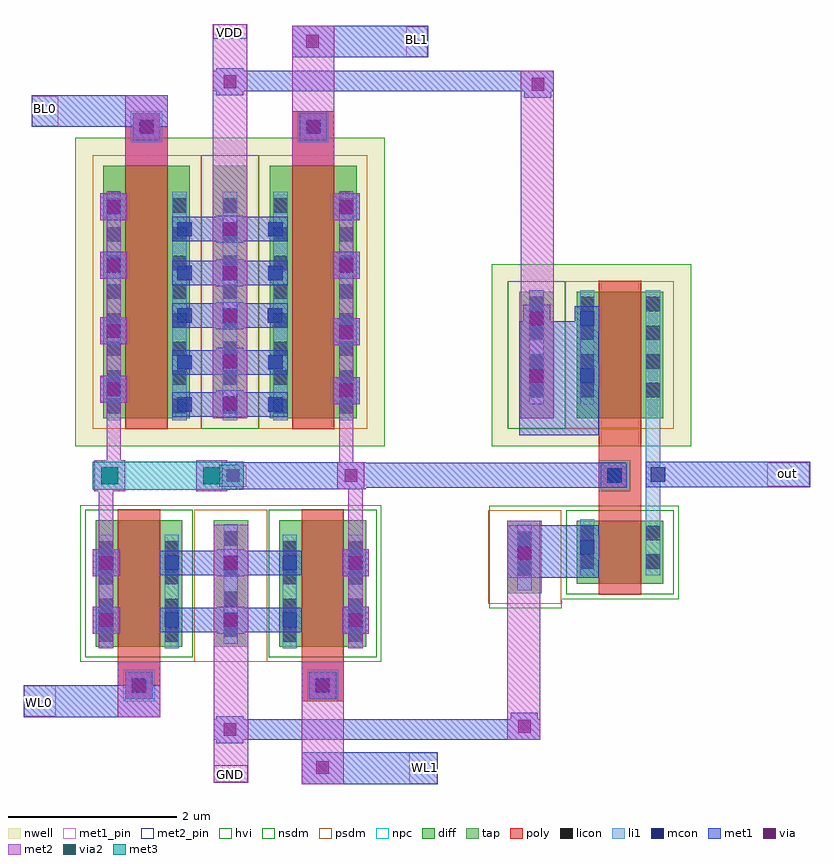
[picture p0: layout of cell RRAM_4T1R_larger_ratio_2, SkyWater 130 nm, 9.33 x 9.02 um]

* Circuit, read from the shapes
.subckt RRAM_4T1R_larger_ratio_2 BL0 BL1 GND VDD WL0 WL1 out
XM1 GND WL0 rram2_0_88/BE GND sky130_fd_pr__nfet_g5v0d10v5 w=1.5 l=0.5
XM2 rram2_0_88/BE WL1 GND GND sky130_fd_pr__nfet_g5v0d10v5 w=1.5 l=0.5
XM3 out rram2_0_88/BE GND GND sky130_fd_pr__nfet_g5v0d10v5 w=0.75 l=0.5
XM4 VDD BL0 rram2_0_88/BE VDD sky130_fd_pr__pfet_g5v0d10v5 w=3 l=0.5
XM5 rram2_0_88/BE BL1 VDD VDD sky130_fd_pr__pfet_g5v0d10v5 w=3 l=0.5
XM6 out rram2_0_88/BE VDD VDD sky130_fd_pr__pfet_g5v0d10v5 w=1.5 l=0.5
.ends

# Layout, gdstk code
from math import pi, radians
import gdstk
lib = gdstk.Library(unit=1e-6, precision=1e-09)
def R(c, l, rs):  # rectangles x0, y0, x1, y1
    for r in rs: c.add(gdstk.rectangle(r[:2], r[2:], *l))
def A(c, l, x, y, w, h, nx, ny, dx, dy):  # array of equal rectangles
    R(c, l, [(x+i*dx, y+j*dy, x+i*dx+w, y+j*dy+h) for i in range(nx) for j in range(ny)])
nwell = (64, 20)
diff = (65, 20)
tap = (65, 44)
poly = (66, 20)
licon = (66, 44)
li1 = (67, 20)
mcon = (67, 44)
met1_pin = (68, 16)
met1 = (68, 20)
via = (68, 44)
met2_pin = (69, 16)
met2 = (69, 20)
via2 = (69, 44)
met3 = (70, 20)
hvi = (75, 20)
nsdm = (93, 44)
psdm = (94, 20)
npc = (95, 20)

l1m1_c_cdns_630369580172 = lib.new_cell('L1M1_C_CDNS_6303695801729')
R(l1m1_c_cdns_630369580172, li1, [(-0.085,-0.085,0.085,0.085)])
R(l1m1_c_cdns_630369580172, mcon, [(-0.085,-0.085,0.085,0.085)])
R(l1m1_c_cdns_630369580172, met1, [(-0.16,-0.16,0.16,0.16)])

l1m1_c_cdns_630369580173 = lib.new_cell('L1M1_C_CDNS_6303695801734')
R(l1m1_c_cdns_630369580173, li1, [(-0.085,-0.085,0.085,0.085)])
R(l1m1_c_cdns_630369580173, mcon, [(-0.085,-0.085,0.085,0.085)])
R(l1m1_c_cdns_630369580173, met1, [(-0.145,-0.145,0.145,0.145)])

m1m2_c_cdns_630369580172 = lib.new_cell('M1M2_C_CDNS_6303695801725')
R(m1m2_c_cdns_630369580172, met1, [(-0.16,-0.16,0.16,0.16)])
R(m1m2_c_cdns_630369580172, via, [(-0.075,-0.075,0.075,0.075)])
R(m1m2_c_cdns_630369580172, met2, [(-0.16,-0.16,0.16,0.16)])

m2m3_c_cdns_630369580173 = lib.new_cell('M2M3_C_CDNS_6303695801738')
R(m2m3_c_cdns_630369580173, met2, [(-0.185,-0.185,0.185,0.185)])
R(m2m3_c_cdns_630369580173, via2, [(-0.1,-0.1,0.1,0.1)])
R(m2m3_c_cdns_630369580173, met3, [(-0.165,-0.165,0.165,0.165)])

pyl1_c_cdns_630369580173 = lib.new_cell('PYL1_C_CDNS_6303695801737')
R(pyl1_c_cdns_630369580173, poly, [(-0.165,-0.165,0.165,0.165)])
R(pyl1_c_cdns_630369580173, licon, [(-0.085,-0.085,0.085,0.085)])
R(pyl1_c_cdns_630369580173, li1, [(-0.165,-0.165,0.165,0.165)])
R(pyl1_c_cdns_630369580173, npc, [(-0.185,-0.185,0.185,0.185)])

dfl1sd_cdns_630369580171 = lib.new_cell('DFL1sd_CDNS_6303695801712')
R(dfl1sd_cdns_630369580171, nwell, [(-0.18,-0.18,0.445,1.68)])
R(dfl1sd_cdns_630369580171, diff, [(0,0,0.265,1.5)])
A(dfl1sd_cdns_630369580171, licon, 0.055, 0.06, 0.17, 0.17, 1, 4, 0, 0.34)
R(dfl1sd_cdns_630369580171, li1, [(0.055,-0.02,0.225,1.33)])
R(dfl1sd_cdns_630369580171, psdm, [(-0.125,-0.125,0.39,1.625)])

pfet_symbolic_cdns_63036 = lib.new_cell('pfet_symbolic_CDNS_6303695801711')
R(pfet_symbolic_cdns_63036, nwell, [(-0.445,-0.18,0.945,1.68)])
R(pfet_symbolic_cdns_63036, diff, [(-0.25,0,0,1.5), (0,0,0.5,1.5), (0.5,0,0.75,1.5)])
R(pfet_symbolic_cdns_63036, poly, [(0,-0.13,0.5,1.63), (0,-0.13,0.5,0), (0,1.5,0.5,1.63)])
R(pfet_symbolic_cdns_63036, li1, [(-0.225,-0.02,-0.055,1.33), (0.555,-0.02,0.725,1.33)])
R(pfet_symbolic_cdns_63036, psdm, [(-0.25,-0.125,0.75,1.625)])
pfet_symbolic_cdns_63036.add(gdstk.Reference(dfl1sd_cdns_630369580171, (0.5,0)))
pfet_symbolic_cdns_63036.add(gdstk.Reference(dfl1sd_cdns_630369580171, (0,0), rotation=pi, x_reflection=True))
pfet_symbolic_cdns_63036.add(gdstk.Label('D', (0.64,0.655), layer=83, texttype=44))
pfet_symbolic_cdns_63036.add(gdstk.Label('S', (-0.14,0.655), layer=83, texttype=44))

pfet_cdns_6303695801710 = lib.new_cell('pfet_CDNS_6303695801710')
R(pfet_cdns_6303695801710, nwell, [(-1.275,-0.33,-0.445,1.83), (-0.595,-0.33,1.095,1.83)])
R(pfet_cdns_6303695801710, tap, [(-0.945,0,-0.535,1.5)])
A(pfet_cdns_6303695801710, licon, -0.825, 0.06, 0.17, 0.17, 1, 4, 0, 0.34)
R(pfet_cdns_6303695801710, li1, [(-0.825,-0.02,-0.655,1.33)])
R(pfet_cdns_6303695801710, hvi, [(-1.275,-0.33,-0.445,1.83), (-0.595,-0.33,1.095,1.83)])
R(pfet_cdns_6303695801710, nsdm, [(-1.08,-0.125,-0.4,1.625)])
R(pfet_cdns_6303695801710, psdm, [(-0.4,-0.125,-0.39,1.625)])
pfet_cdns_6303695801710.add(gdstk.Reference(pfet_symbolic_cdns_63036, (0,0)))

c_dfl1sd_cdns_630369580171 = lib.new_cell('DFL1sd_CDNS_6303695801715')
R(c_dfl1sd_cdns_630369580171, nwell, [(-0.18,-0.18,0.445,3.18)])
R(c_dfl1sd_cdns_630369580171, diff, [(0,0,0.265,3)])
A(c_dfl1sd_cdns_630369580171, licon, 0.055, 0.06, 0.17, 0.17, 1, 8, 0, 0.34)
R(c_dfl1sd_cdns_630369580171, li1, [(0.055,-0.02,0.225,2.69)])
R(c_dfl1sd_cdns_630369580171, psdm, [(-0.125,-0.125,0.39,3.125)])

c_pfet_symbolic_cdns_63036 = lib.new_cell('pfet_symbolic_CDNS_6303695801714')
R(c_pfet_symbolic_cdns_63036, nwell, [(-0.445,-0.18,0.945,3.18)])
R(c_pfet_symbolic_cdns_63036, diff, [(-0.25,0,0,3), (0,0,0.5,3), (0.5,0,0.75,3)])
R(c_pfet_symbolic_cdns_63036, poly, [(0,-0.13,0.5,3.13), (0,-0.13,0.5,0), (0,3,0.5,3.13)])
R(c_pfet_symbolic_cdns_63036, li1, [(-0.225,-0.02,-0.055,2.69), (0.555,-0.02,0.725,2.69)])
R(c_pfet_symbolic_cdns_63036, psdm, [(-0.25,-0.125,0.75,3.125)])
c_pfet_symbolic_cdns_63036.add(gdstk.Reference(c_dfl1sd_cdns_630369580171, (0.5,0)))
c_pfet_symbolic_cdns_63036.add(gdstk.Reference(c_dfl1sd_cdns_630369580171, (0,0), rotation=pi, x_reflection=True))
c_pfet_symbolic_cdns_63036.add(gdstk.Label('D', (0.64,1.335), layer=83, texttype=44))
c_pfet_symbolic_cdns_63036.add(gdstk.Label('S', (-0.14,1.335), layer=83, texttype=44))

pfet_cdns_6303695801713 = lib.new_cell('pfet_CDNS_6303695801713')
R(pfet_cdns_6303695801713, nwell, [(-1.275,-0.33,-0.445,3.33), (-0.595,-0.33,1.095,3.33)])
R(pfet_cdns_6303695801713, tap, [(-0.945,0,-0.535,3)])
A(pfet_cdns_6303695801713, licon, -0.825, 0.06, 0.17, 0.17, 1, 8, 0, 0.34)
R(pfet_cdns_6303695801713, li1, [(-0.825,-0.02,-0.655,2.69)])
R(pfet_cdns_6303695801713, hvi, [(-1.275,-0.33,-0.445,3.33), (-0.595,-0.33,1.095,3.33)])
R(pfet_cdns_6303695801713, nsdm, [(-1.08,-0.125,-0.4,3.125)])
R(pfet_cdns_6303695801713, psdm, [(-0.4,-0.125,-0.39,3.125)])
pfet_cdns_6303695801713.add(gdstk.Reference(c_pfet_symbolic_cdns_63036, (0,0)))

rram2_0 = lib.new_cell('rram2_0')
R(rram2_0, met1_pin, [(-0.16,-0.13,0.16,0.13)])
R(rram2_0, met1, [(-0.16,-0.13,0.16,0.13)])
R(rram2_0, via, [(-0.075,-0.075,0.075,0.075)])
R(rram2_0, met2_pin, [(-0.13,-0.16,0.13,0.16)])
R(rram2_0, met2, [(-0.13,-0.16,0.13,0.16)])
rram2_0.add(gdstk.Label('TE', (0,0), layer=69, texttype=5))
rram2_0.add(gdstk.Label('BE', (0,0), layer=68, texttype=5))

dfl1sd_cdns_630369580176 = lib.new_cell('DFL1sd_CDNS_630369580176')
R(dfl1sd_cdns_630369580176, diff, [(0,0,0.265,0.75)])
R(dfl1sd_cdns_630369580176, licon, [(0.055,0.06,0.225,0.23), (0.055,0.4,0.225,0.57)])
R(dfl1sd_cdns_630369580176, li1, [(0.055,-0.02,0.225,0.65)])
R(dfl1sd_cdns_630369580176, nsdm, [(-0.125,-0.125,0.39,0.875)])

nfet_symbolic_cdns_63036 = lib.new_cell('nfet_symbolic_CDNS_630369580175')
R(nfet_symbolic_cdns_63036, diff, [(-0.25,0,0,0.75), (0,0,0.5,0.75), (0.5,0,0.75,0.75)])
R(nfet_symbolic_cdns_63036, poly, [(0,-0.13,0.5,0.88), (0,-0.13,0.5,0), (0,0.75,0.5,0.88)])
R(nfet_symbolic_cdns_63036, li1, [(-0.225,-0.02,-0.055,0.65), (0.555,-0.02,0.725,0.65)])
R(nfet_symbolic_cdns_63036, nsdm, [(-0.25,-0.125,0.75,0.875)])
nfet_symbolic_cdns_63036.add(gdstk.Reference(dfl1sd_cdns_630369580176, (0.5,0)))
nfet_symbolic_cdns_63036.add(gdstk.Reference(dfl1sd_cdns_630369580176, (0,0), rotation=pi, x_reflection=True))
nfet_symbolic_cdns_63036.add(gdstk.Label('D', (0.64,0.315), layer=83, texttype=44))
nfet_symbolic_cdns_63036.add(gdstk.Label('S', (-0.14,0.315), layer=83, texttype=44))

nfet_cdns_630369580174 = lib.new_cell('nfet_CDNS_630369580174')
R(nfet_cdns_630369580174, hvi, [(-0.445,-0.18,0.945,0.93)])
nfet_cdns_630369580174.add(gdstk.Reference(nfet_symbolic_cdns_63036, (0,0)))

dfl1sd_cdns_630369580179 = lib.new_cell('DFL1sd_CDNS_630369580179')
R(dfl1sd_cdns_630369580179, diff, [(0,0,0.265,1.5)])
A(dfl1sd_cdns_630369580179, licon, 0.055, 0.06, 0.17, 0.17, 1, 4, 0, 0.34)
R(dfl1sd_cdns_630369580179, li1, [(0.055,-0.02,0.225,1.33)])
R(dfl1sd_cdns_630369580179, nsdm, [(-0.125,-0.125,0.39,1.625)])

c_nfet_symbolic_cdns_63036 = lib.new_cell('nfet_symbolic_CDNS_630369580178')
R(c_nfet_symbolic_cdns_63036, diff, [(-0.25,0,0,1.5), (0,0,0.5,1.5), (0.5,0,0.75,1.5)])
R(c_nfet_symbolic_cdns_63036, poly, [(0,-0.13,0.5,1.63), (0,-0.13,0.5,0), (0,1.5,0.5,1.63)])
R(c_nfet_symbolic_cdns_63036, li1, [(-0.225,-0.02,-0.055,1.33), (0.555,-0.02,0.725,1.33)])
R(c_nfet_symbolic_cdns_63036, nsdm, [(-0.25,-0.125,0.75,1.625)])
c_nfet_symbolic_cdns_63036.add(gdstk.Reference(dfl1sd_cdns_630369580179, (0.5,0)))
c_nfet_symbolic_cdns_63036.add(gdstk.Reference(dfl1sd_cdns_630369580179, (0,0), rotation=pi, x_reflection=True))
c_nfet_symbolic_cdns_63036.add(gdstk.Label('D', (0.64,0.655), layer=83, texttype=44))
c_nfet_symbolic_cdns_63036.add(gdstk.Label('S', (-0.14,0.655), layer=83, texttype=44))

nfet_cdns_630369580177 = lib.new_cell('nfet_CDNS_630369580177')
R(nfet_cdns_630369580177, hvi, [(-0.445,-0.18,0.945,1.68)])
nfet_cdns_630369580177.add(gdstk.Reference(c_nfet_symbolic_cdns_63036, (0,0)))

rram_4t1r_larger_ratio_2 = lib.new_cell('RRAM_4T1R_larger_ratio_2')
R(rram_4t1r_larger_ratio_2, tap, [(3.435,-2.835,3.845,-1.335), (6.92,-2.2,7.33,-1.34)])
R(rram_4t1r_larger_ratio_2, poly, [(4.48,-3.48,4.98,-2.965), (2.3,-3.295,2.8,-2.965), (8.01,-1.21,8.51,-0.255), (2.39,3.005,2.89,3.335), (4.37,3.005,4.87,3.52)])
R(rram_4t1r_larger_ratio_2, licon, [(3.555,-2.715,3.725,-2.545), (3.555,-2.355,3.725,-2.185), (3.555,-2,3.725,-1.83), (7.04,-1.995,7.21,-1.825), (7.04,-1.64,7.21,-1.47), (3.555,-1.635,3.725,-1.465)])
R(rram_4t1r_larger_ratio_2, li1, [(3.555,-2.8,3.725,-1.385), (7.04,-2.165,7.21,-1.39), (8.565,-1.34,8.735,0.045)])
R(rram_4t1r_larger_ratio_2, met1_pin, [(5.76,-4.46,6.09,-4.095), (1.19,-3.66,1.565,-3.3), (10.005,-0.93,10.505,-0.655), (1.285,3.34,1.59,3.7), (5.725,4.165,5.97,4.52)])
R(rram_4t1r_larger_ratio_2, met1, [(4.48,-4.465,6.095,-4.09), (3.435,-3.94,7.315,-3.695), (1.185,-3.67,2.8,-3.295), (2.855,-2.665,4.425,-2.375), (6.92,-2.015,8.01,-1.395), (2.855,-1.985,4.425,-1.695), (3.7,-0.965,5.24,-0.645), (5.24,-0.95,8.33,-0.655), (8.565,-0.945,10.515,-0.64), (7.065,-0.325,8.01,1.025), (2.945,-0.105,4.315,0.185), (2.945,0.395,4.315,0.685), (2.945,0.95,4.315,1.24), (2.945,1.455,4.315,1.745), (2.945,1.975,4.315,2.265), (1.275,3.335,2.89,3.71), (3.425,3.755,7.475,4), (4.37,4.16,5.985,4.535)])
R(rram_4t1r_larger_ratio_2, met2_pin, [(3.44,-4.445,3.84,-4.245), (3.43,4.38,3.83,4.55)])
R(rram_4t1r_larger_ratio_2, met2, [(4.48,-4.465,4.98,-3.015), (3.435,-4.45,3.845,-1.39), (6.92,-3.94,7.315,-1.34), (2.3,-3.67,2.8,-3.015), (2.075,-2.855,2.245,-0.64), (5.035,-2.855,5.205,-0.645), (2.165,-0.965,2.335,2.57), (4.925,-0.965,5.095,2.57), (3.425,-0.125,3.835,4.555), (7.08,-0.125,7.475,4), (2.39,2.875,2.89,3.71), (4.37,2.875,4.87,4.535)])
R(rram_4t1r_larger_ratio_2, met3, [(2,-0.97,3.795,-0.64)])
R(rram_4t1r_larger_ratio_2, hvi, [(3.2,-3.015,4.06,-1.155), (6.705,-2.38,7.565,-1.16)])
R(rram_4t1r_larger_ratio_2, psdm, [(3.205,-3.015,4.07,-1.21), (6.695,-2.325,7.56,-1.215)])
rram_4t1r_larger_ratio_2.add(gdstk.Reference(l1m1_c_cdns_630369580172, (7.27,0.38)))
rram_4t1r_larger_ratio_2.add(gdstk.Reference(l1m1_c_cdns_630369580172, (7.27,1.06)))
rram_4t1r_larger_ratio_2.add(gdstk.Reference(l1m1_c_cdns_630369580172, (7.125,-1.73)))
rram_4t1r_larger_ratio_2.add(gdstk.Reference(l1m1_c_cdns_630369580172, (2.25,0.22)))
rram_4t1r_larger_ratio_2.add(gdstk.Reference(l1m1_c_cdns_630369580172, (2.25,0.915)))
rram_4t1r_larger_ratio_2.add(gdstk.Reference(l1m1_c_cdns_630369580172, (5.01,0.205)))
rram_4t1r_larger_ratio_2.add(gdstk.Reference(l1m1_c_cdns_630369580172, (5.01,0.9)))
rram_4t1r_larger_ratio_2.add(gdstk.Reference(l1m1_c_cdns_630369580172, (3.63,2.12)))
rram_4t1r_larger_ratio_2.add(gdstk.Reference(l1m1_c_cdns_630369580172, (3.63,0.05)))
rram_4t1r_larger_ratio_2.add(gdstk.Reference(l1m1_c_cdns_630369580172, (3.64,-1.84)))
rram_4t1r_larger_ratio_2.add(gdstk.Reference(l1m1_c_cdns_630369580172, (5.12,-1.84)))
rram_4t1r_larger_ratio_2.add(gdstk.Reference(l1m1_c_cdns_630369580172, (2.16,-1.84)))
rram_4t1r_larger_ratio_2.add(gdstk.Reference(l1m1_c_cdns_630369580172, (5.12,-2.52)))
rram_4t1r_larger_ratio_2.add(gdstk.Reference(l1m1_c_cdns_630369580172, (5.01,2.385)))
rram_4t1r_larger_ratio_2.add(gdstk.Reference(l1m1_c_cdns_630369580172, (5.01,1.69)))
rram_4t1r_larger_ratio_2.add(gdstk.Reference(l1m1_c_cdns_630369580172, (3.64,-2.52)))
rram_4t1r_larger_ratio_2.add(gdstk.Reference(l1m1_c_cdns_630369580172, (3.63,0.55)))
rram_4t1r_larger_ratio_2.add(gdstk.Reference(l1m1_c_cdns_630369580172, (3.63,1.095)))
rram_4t1r_larger_ratio_2.add(gdstk.Reference(l1m1_c_cdns_630369580172, (3.63,1.6)))
rram_4t1r_larger_ratio_2.add(gdstk.Reference(l1m1_c_cdns_630369580172, (2.25,2.385)))
rram_4t1r_larger_ratio_2.add(gdstk.Reference(l1m1_c_cdns_630369580172, (2.25,1.69)))
rram_4t1r_larger_ratio_2.add(gdstk.Reference(l1m1_c_cdns_630369580172, (2.16,-2.52)))
rram_4t1r_larger_ratio_2.add(gdstk.Reference(l1m1_c_cdns_630369580172, (4.73,-3.295)))
rram_4t1r_larger_ratio_2.add(gdstk.Reference(l1m1_c_cdns_630369580172, (4.62,3.335)))
rram_4t1r_larger_ratio_2.add(gdstk.Reference(l1m1_c_cdns_630369580172, (2.64,3.335)))
rram_4t1r_larger_ratio_2.add(gdstk.Reference(l1m1_c_cdns_630369580172, (2.55,-3.295)))
rram_4t1r_larger_ratio_2.add(gdstk.Reference(l1m1_c_cdns_630369580173, (7.87,0.38)))
rram_4t1r_larger_ratio_2.add(gdstk.Reference(l1m1_c_cdns_630369580173, (7.87,1.06)))
rram_4t1r_larger_ratio_2.add(gdstk.Reference(l1m1_c_cdns_630369580173, (8.71,-0.79)))
rram_4t1r_larger_ratio_2.add(gdstk.Reference(l1m1_c_cdns_630369580173, (7.87,-1.655)))
rram_4t1r_larger_ratio_2.add(gdstk.Reference(l1m1_c_cdns_630369580173, (8.195,-0.805)))
rram_4t1r_larger_ratio_2.add(gdstk.Reference(l1m1_c_cdns_630369580173, (4.17,2.12)))
rram_4t1r_larger_ratio_2.add(gdstk.Reference(l1m1_c_cdns_630369580173, (3.09,2.12)))
rram_4t1r_larger_ratio_2.add(gdstk.Reference(l1m1_c_cdns_630369580173, (3.09,0.04)))
rram_4t1r_larger_ratio_2.add(gdstk.Reference(l1m1_c_cdns_630369580173, (4.17,0.04)))
rram_4t1r_larger_ratio_2.add(gdstk.Reference(l1m1_c_cdns_630369580173, (4.34,-1.84)))
rram_4t1r_larger_ratio_2.add(gdstk.Reference(l1m1_c_cdns_630369580173, (2.94,-1.84)))
rram_4t1r_larger_ratio_2.add(gdstk.Reference(l1m1_c_cdns_630369580173, (4.34,-2.52)))
rram_4t1r_larger_ratio_2.add(gdstk.Reference(l1m1_c_cdns_630369580173, (4.17,0.54)))
rram_4t1r_larger_ratio_2.add(gdstk.Reference(l1m1_c_cdns_630369580173, (4.17,1.6)))
rram_4t1r_larger_ratio_2.add(gdstk.Reference(l1m1_c_cdns_630369580173, (4.165,1.095)))
rram_4t1r_larger_ratio_2.add(gdstk.Reference(l1m1_c_cdns_630369580173, (3.09,1.095)))
rram_4t1r_larger_ratio_2.add(gdstk.Reference(l1m1_c_cdns_630369580173, (3.09,1.6)))
rram_4t1r_larger_ratio_2.add(gdstk.Reference(l1m1_c_cdns_630369580173, (3.09,0.54)))
rram_4t1r_larger_ratio_2.add(gdstk.Reference(l1m1_c_cdns_630369580173, (2.94,-2.52)))
rram_4t1r_larger_ratio_2.add(gdstk.Reference(m1m2_c_cdns_630369580172, (3.63,-3.82)))
rram_4t1r_larger_ratio_2.add(gdstk.Reference(m1m2_c_cdns_630369580172, (3.63,3.87)))
rram_4t1r_larger_ratio_2.add(gdstk.Reference(m1m2_c_cdns_630369580172, (4.73,-4.27)))
rram_4t1r_larger_ratio_2.add(gdstk.Reference(m1m2_c_cdns_630369580172, (4.61,4.35)))
rram_4t1r_larger_ratio_2.add(gdstk.Reference(m1m2_c_cdns_630369580172, (7.27,0.38)))
rram_4t1r_larger_ratio_2.add(gdstk.Reference(m1m2_c_cdns_630369580172, (7.125,-3.78)))
rram_4t1r_larger_ratio_2.add(gdstk.Reference(m1m2_c_cdns_630369580172, (7.285,3.84)))
rram_4t1r_larger_ratio_2.add(gdstk.Reference(m1m2_c_cdns_630369580172, (7.27,1.06)))
rram_4t1r_larger_ratio_2.add(gdstk.Reference(m1m2_c_cdns_630369580172, (7.125,-1.73)))
rram_4t1r_larger_ratio_2.add(gdstk.Reference(m1m2_c_cdns_630369580172, (2.25,0.22)))
rram_4t1r_larger_ratio_2.add(gdstk.Reference(m1m2_c_cdns_630369580172, (2.25,0.915)))
rram_4t1r_larger_ratio_2.add(gdstk.Reference(m1m2_c_cdns_630369580172, (5.01,0.205)))
rram_4t1r_larger_ratio_2.add(gdstk.Reference(m1m2_c_cdns_630369580172, (5.01,0.9)))
rram_4t1r_larger_ratio_2.add(gdstk.Reference(m1m2_c_cdns_630369580172, (3.63,2.12)))
rram_4t1r_larger_ratio_2.add(gdstk.Reference(m1m2_c_cdns_630369580172, (3.63,0.05)))
rram_4t1r_larger_ratio_2.add(gdstk.Reference(m1m2_c_cdns_630369580172, (3.64,-1.84)))
rram_4t1r_larger_ratio_2.add(gdstk.Reference(m1m2_c_cdns_630369580172, (5.12,-1.84)))
rram_4t1r_larger_ratio_2.add(gdstk.Reference(m1m2_c_cdns_630369580172, (2.16,-1.84)))
rram_4t1r_larger_ratio_2.add(gdstk.Reference(m1m2_c_cdns_630369580172, (5.12,-2.52)))
rram_4t1r_larger_ratio_2.add(gdstk.Reference(m1m2_c_cdns_630369580172, (5.065,-0.805)))
rram_4t1r_larger_ratio_2.add(gdstk.Reference(m1m2_c_cdns_630369580172, (5.01,2.385)))
rram_4t1r_larger_ratio_2.add(gdstk.Reference(m1m2_c_cdns_630369580172, (5.01,1.69)))
rram_4t1r_larger_ratio_2.add(gdstk.Reference(m1m2_c_cdns_630369580172, (3.64,-2.52)))
rram_4t1r_larger_ratio_2.add(gdstk.Reference(m1m2_c_cdns_630369580172, (3.63,0.55)))
rram_4t1r_larger_ratio_2.add(gdstk.Reference(m1m2_c_cdns_630369580172, (3.63,1.095)))
rram_4t1r_larger_ratio_2.add(gdstk.Reference(m1m2_c_cdns_630369580172, (3.63,1.6)))
rram_4t1r_larger_ratio_2.add(gdstk.Reference(m1m2_c_cdns_630369580172, (2.25,2.385)))
rram_4t1r_larger_ratio_2.add(gdstk.Reference(m1m2_c_cdns_630369580172, (2.25,1.69)))
rram_4t1r_larger_ratio_2.add(gdstk.Reference(m1m2_c_cdns_630369580172, (2.16,-2.52)))
rram_4t1r_larger_ratio_2.add(gdstk.Reference(m1m2_c_cdns_630369580172, (4.73,-3.295)))
rram_4t1r_larger_ratio_2.add(gdstk.Reference(m1m2_c_cdns_630369580172, (4.62,3.335)))
rram_4t1r_larger_ratio_2.add(gdstk.Reference(m1m2_c_cdns_630369580172, (2.64,3.335)))
rram_4t1r_larger_ratio_2.add(gdstk.Reference(m1m2_c_cdns_630369580172, (2.55,-3.295)))
rram_4t1r_larger_ratio_2.add(gdstk.Reference(m2m3_c_cdns_630369580173, (3.415,-0.805)))
rram_4t1r_larger_ratio_2.add(gdstk.Reference(m2m3_c_cdns_630369580173, (2.205,-0.805)))
rram_4t1r_larger_ratio_2.add(gdstk.Reference(pyl1_c_cdns_630369580173, (8.195,-0.805)))
rram_4t1r_larger_ratio_2.add(gdstk.Reference(pyl1_c_cdns_630369580173, (4.73,-3.295)))
rram_4t1r_larger_ratio_2.add(gdstk.Reference(pyl1_c_cdns_630369580173, (4.62,3.335)))
rram_4t1r_larger_ratio_2.add(gdstk.Reference(pyl1_c_cdns_630369580173, (2.64,3.335)))
rram_4t1r_larger_ratio_2.add(gdstk.Reference(pyl1_c_cdns_630369580173, (2.55,-3.295)))
rram_4t1r_larger_ratio_2.add(gdstk.Reference(pfet_cdns_6303695801710, (8.01,1.375), x_reflection=True))
rram_4t1r_larger_ratio_2.add(gdstk.Reference(pfet_cdns_6303695801713, (4.37,-0.125)))
rram_4t1r_larger_ratio_2.add(gdstk.Reference(pfet_cdns_6303695801713, (2.89,-0.125), rotation=pi, x_reflection=True))
rram_4t1r_larger_ratio_2.add(gdstk.Reference(rram2_0, (3.665,-0.805)))
rram_4t1r_larger_ratio_2.add(gdstk.Reference(nfet_cdns_630369580174, (8.01,-1.34), x_reflection=True))
rram_4t1r_larger_ratio_2.add(gdstk.Reference(nfet_cdns_630369580177, (4.48,-2.835)))
rram_4t1r_larger_ratio_2.add(gdstk.Reference(nfet_cdns_630369580177, (2.8,-2.835), rotation=pi, x_reflection=True))
rram_4t1r_larger_ratio_2.add(gdstk.Label('GND', (3.64,-4.355), layer=69, texttype=16))
rram_4t1r_larger_ratio_2.add(gdstk.Label('VDD', (3.63,4.455), layer=69, texttype=16))
rram_4t1r_larger_ratio_2.add(gdstk.Label('out', (10.25,-0.785), layer=68, texttype=16))
rram_4t1r_larger_ratio_2.add(gdstk.Label('BL0', (1.435,3.555), layer=68, texttype=16))
rram_4t1r_larger_ratio_2.add(gdstk.Label('BL1', (5.86,4.37), layer=68, texttype=16))
rram_4t1r_larger_ratio_2.add(gdstk.Label('WL1', (5.955,-4.275), layer=68, texttype=16))
rram_4t1r_larger_ratio_2.add(gdstk.Label('WL0', (1.37,-3.495), layer=68, texttype=16))

lib.write_gds('RRAM_4T1R_larger_ratio_2.gds')
